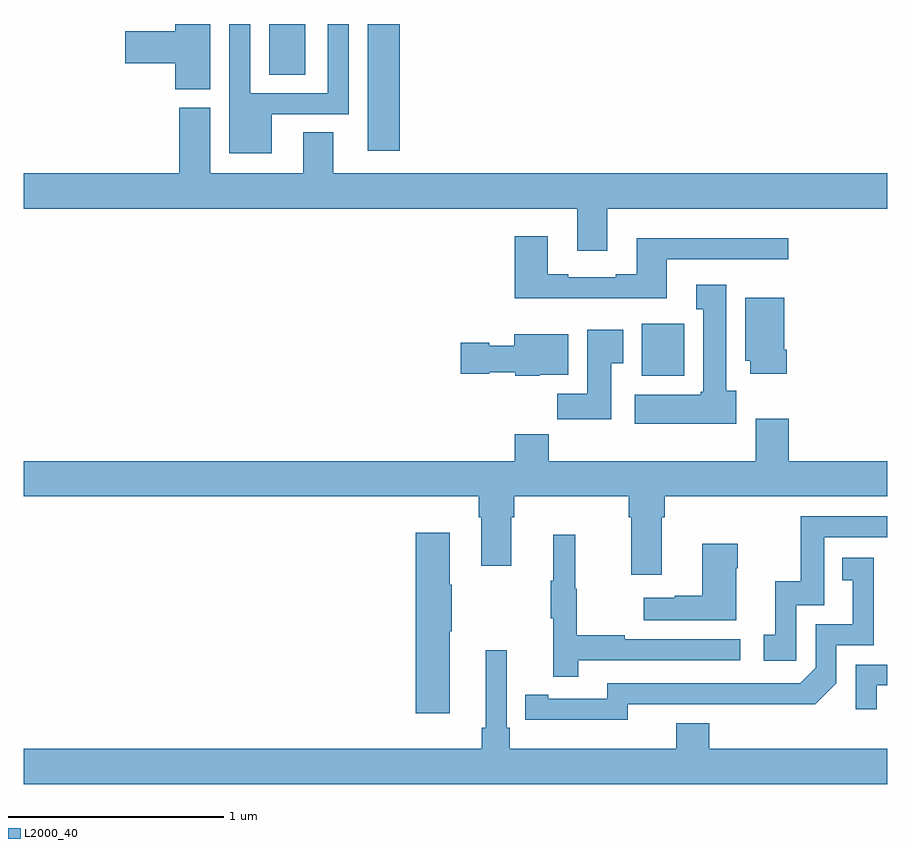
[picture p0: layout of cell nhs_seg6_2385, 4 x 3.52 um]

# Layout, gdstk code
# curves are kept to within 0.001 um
import gdstk
lib = gdstk.Library(unit=1e-6, precision=1e-09)
def R(c, l, rs):  # rectangles x0, y0, x1, y1
    for r in rs: c.add(gdstk.rectangle(r[:2], r[2:], *l))
def P(c, l, *ps):  # polygons
    for p in ps: c.add(gdstk.Polygon(p, *l))
L2000_40 = (2000, 40)

nhs_seg6_2385 = lib.new_cell('nhs_seg6_2385')
R(nhs_seg6_2385, L2000_40, [(255.863,971.87,256.06,972.112), (254.594,972.912,254.741,973.5), (254.138,973.264,254.305,973.5)])
P(nhs_seg6_2385, L2000_40, [(254.149,973.083),(254.505,973.083),(254.505,973.5),(254.409,973.5),(254.409,973.179),(254.049,973.179),(254.049,973.5),(253.953,973.5),(253.953,972.902),(254.149,972.902)],
  [(253.864,973.481),(253.863,973.481),(253.863,973.5),(253.703,973.5),(253.703,973.466),(253.47,973.466),(253.47,973.319),(253.703,973.319),(253.703,973.198),(253.864,973.198)],
  [(255.563,972.45),(255.703,972.45),(255.703,972.644),(257,972.644),(257,972.808),(254.434,972.808),(254.434,972.998),(254.294,972.998),(254.294,972.808),(253.864,972.808),(253.864,973.113),(253.721,973.113),(253.721,972.808),(253,972.808),(253,972.644),(255.563,972.644)],
  [(255.979,972.411),(256.54,972.411),(256.54,972.508),(255.839,972.508),(255.839,972.34),(255.743,972.34),(255.743,972.327),(255.523,972.327),(255.523,972.34),(255.427,972.34),(255.427,972.517),(255.275,972.517),(255.275,972.23),(255.979,972.23)],
  [(256.3,971.802),(256.255,971.802),(256.255,972.292),(256.115,972.292),(256.115,972.179),(256.148,972.179),(256.148,971.796),(256.135,971.796),(256.135,971.782),(255.831,971.782),(255.831,971.648),(256.3,971.648)],
  [(256.535,971.992),(256.522,971.992),(256.522,972.232),(256.343,972.232),(256.343,971.94),(256.364,971.94),(256.364,971.88),(256.535,971.88)],
  [(255.721,971.929),(255.778,971.929),(255.778,972.085),(255.611,972.085),(255.611,971.788),(255.472,971.788),(255.472,971.67),(255.721,971.67)],
  [(255.39,971.876),(255.523,971.876),(255.523,972.064),(255.272,972.064),(255.272,972.01),(255.156,972.01),(255.156,972.023),(255.024,972.023),(255.024,971.881),(255.156,971.881),(255.156,971.888),(255.276,971.888),(255.276,971.87),(255.39,971.87)],
  [(255.955,971.216),(255.968,971.216),(255.968,971.312),(257,971.312),(257,971.476),(256.544,971.476),(256.544,971.671),(256.391,971.671),(256.391,971.476),(255.431,971.476),(255.431,971.6),(255.275,971.6),(255.275,971.476),(253,971.476),(253,971.312),(255.107,971.312),(255.107,971.216),(255.119,971.216),(255.119,970.992),(255.259,970.992),(255.259,971.216),(255.272,971.216),(255.272,971.312),(255.803,971.312),(255.803,971.216),(255.815,971.216),(255.815,970.95),(255.955,970.95)],
  [(256.578,970.809),(256.707,970.809),(256.707,971.124),(257,971.124),(257,971.22),(256.599,971.22),(256.599,970.918),(256.481,970.918),(256.481,970.671),(256.428,970.671),(256.428,970.551),(256.578,970.551)],
  [(254.974,970.687),(254.982,970.687),(254.982,970.904),(254.974,970.904),(254.974,971.143),(254.816,971.143),(254.816,970.308),(254.974,970.308)],
  [(255.569,970.554),(256.318,970.554),(256.318,970.65),(255.785,970.65),(255.785,970.67),(255.562,970.67),(255.562,970.884),(255.554,970.884),(255.554,971.134),(255.452,971.134),(255.452,970.921),(255.441,970.921),(255.441,970.747),(255.452,970.747),(255.452,970.476),(255.569,970.476)],
  [(256.3,970.979),(256.308,970.979),(256.308,971.092),(256.142,971.092),(256.142,970.853),(256.016,970.853),(256.016,970.843),(255.873,970.843),(255.873,970.739),(256.3,970.739)],
  [(255.798,970.35),(256.666,970.349),(256.764,970.446),(256.764,970.623),(256.938,970.623),(256.938,971.029),(256.792,971.029),(256.792,970.923),(256.841,970.923),(256.841,970.719),(256.668,970.719),(256.668,970.518),(256.596,970.446),(255.702,970.446),(255.702,970.374),(255.43,970.374),(255.43,970.394),(255.322,970.394),(255.322,970.278),(255.798,970.277)],
  [(257,970.144),(256.175,970.144),(256.175,970.261),(256.022,970.261),(256.022,970.144),(255.251,970.144),(255.251,970.24),(255.237,970.24),(255.237,970.6),(255.14,970.6),(255.14,970.24),(255.121,970.24),(255.121,970.144),(253,970.144),(253,969.98),(257,969.98)],
  [(256.951,970.437),(257,970.437),(257,970.533),(256.854,970.533),(256.854,970.326),(256.951,970.326)])

lib.write_gds('nhs_seg6_2385.gds')
